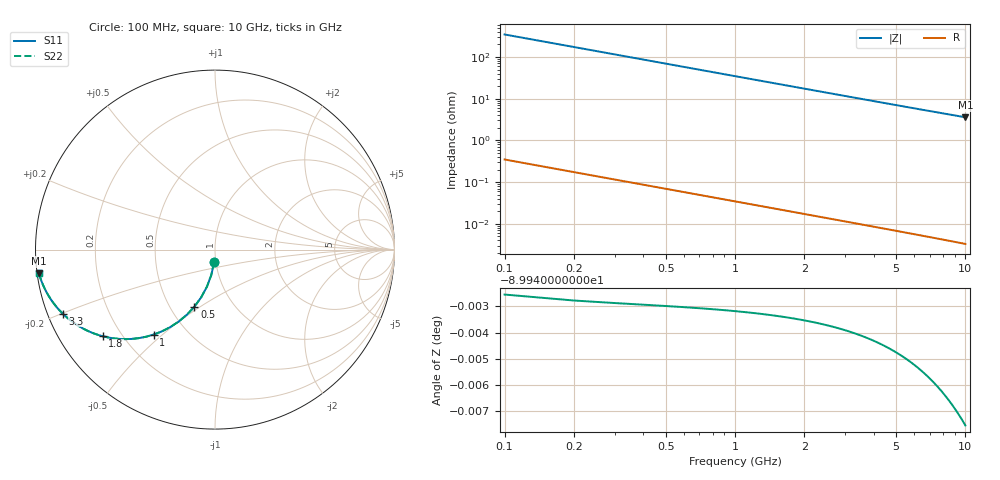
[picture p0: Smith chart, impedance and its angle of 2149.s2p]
# Hz S RI R 50.00
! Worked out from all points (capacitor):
!   100 points, 100 MHz to 10 GHz, reference 50 ohm
!   read as one part in shunt: C = 4.59 pF near 100 MHz
!   lowest |Z| = 3.59 ohm at 10 GHz (marker M1)
!   S11 on the Smith chart (normalised r, x): 100 MHz: 0.98, -0.14; 500 MHz: 0.66, -0.47; 1 GHz: 0.33, -0.47; 1.8 GHz: 0.13, -0.34; 3.3 GHz: 0.04, -0.20; 10 GHz: 0.01, -0.07
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1e8  -0.00522 -0.0716  0.9948 -0.0717  0.9948 -0.0717  -0.00522 -0.0716
2e8  -0.0205 -0.141  0.9795 -0.1412  0.9795 -0.1412  -0.0205 -0.141
3e8  -0.0448 -0.2062  0.9552 -0.2065  0.9552 -0.2065  -0.0448 -0.2062
4e8  -0.0768 -0.2657  0.9231 -0.266  0.9231 -0.266  -0.0768 -0.2657
5e8  -0.115 -0.3183  0.885 -0.3188  0.885 -0.3188  -0.115 -0.3183
6e8  -0.1575 -0.3636  0.8424 -0.3641  0.8424 -0.3641  -0.1575 -0.3636
7e8  -0.2028 -0.4013  0.7972 -0.4019  0.7972 -0.4019  -0.2028 -0.4013
8e8  -0.2493 -0.4318  0.7507 -0.4325  0.7507 -0.4325  -0.2493 -0.4318
1e9  -0.3414 -0.4733  0.6586 -0.4741  0.6586 -0.4741  -0.3414 -0.4733
1.3e9  -0.4667 -0.4978  0.5333 -0.4989  0.5333 -0.4989  -0.4667 -0.4978
1.5e9  -0.5379 -0.4974  0.4621 -0.4987  0.4621 -0.4987  -0.5379 -0.4974
1.8e9  -0.6261 -0.4826  0.3739 -0.4841  0.3739 -0.4841  -0.6261 -0.4826
2.1e9  -0.6948 -0.4591  0.3052 -0.4609  0.3052 -0.4609  -0.6948 -0.4591
2.5e9  -0.7632 -0.4235  0.2368 -0.4257  0.2368 -0.4257  -0.7632 -0.4235
2.9e9  -0.8124 -0.3886  0.1876 -0.3911  0.1876 -0.3911  -0.8124 -0.3886
3.3e9  -0.8485 -0.3566  0.1515 -0.3594  0.1515 -0.3594  -0.8485 -0.3566
3.4e9  -0.856 -0.3491  0.144 -0.352  0.144 -0.352  -0.856 -0.3491
4.2e9  -0.9005 -0.2969  0.0994 -0.3006  0.0994 -0.3006  -0.9005 -0.2969
5.1e9  -0.9302 -0.252  0.0697 -0.2565  0.0697 -0.2565  -0.9302 -0.252
6.7e9  -0.9583 -0.1964  0.0417 -0.2023  0.0417 -0.2023  -0.9583 -0.1964
8.4e9  -0.9731 -0.1575  0.0269 -0.165  0.0269 -0.165  -0.9731 -0.1575
1e10  -0.9809 -0.1318  0.019 -0.1408  0.019 -0.1408  -0.9809 -0.1318
